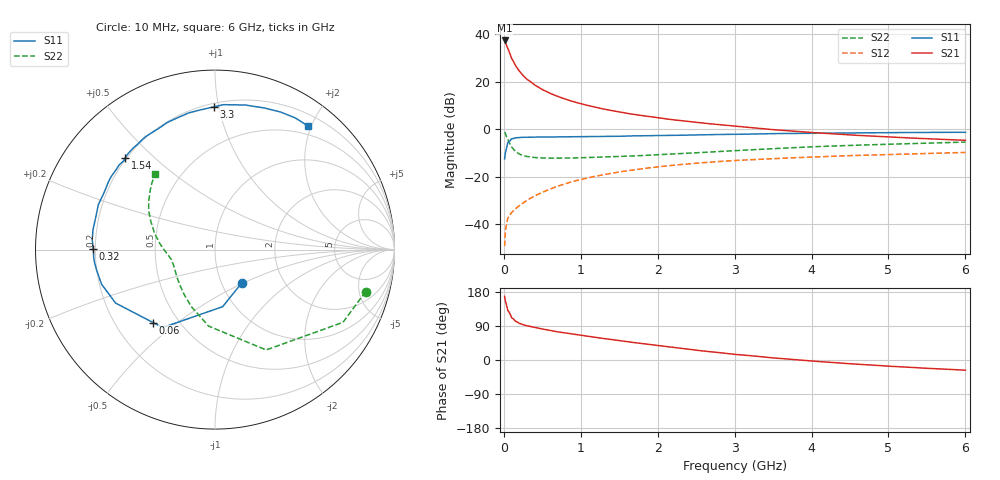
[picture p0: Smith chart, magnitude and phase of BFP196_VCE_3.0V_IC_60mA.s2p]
! Infineon Technologies  Discrete & RF Semiconductors
! BFP196
! VCE = 3.0 V,  IC =  60mA
! Common Emitter S-Parameters:  Jan 2016
# GHz  S  MA  R  50
!  f  S11  S21  S12  S22
! GHz  MAG  ANG  MAG  ANG  MAG  ANG  MAG  ANG
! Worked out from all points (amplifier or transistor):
!   210 points, 10 MHz to 6 GHz, reference 50 ohm
!   highest |S21| = 37.3 dB at 10 MHz (marker M1)
!   |S21| within 3 dB of that: start of sweep to 47.1 MHz
!   unconditionally stable (mu >= 1): 419.3 MHz to 4.654 GHz
!   at 185 MHz: K = 0.77, MSG = 28.9 dB, |S12| = -32.5 dB
!   at 1.52 GHz: K = 1.09, MAG = 10.7 dB, |S12| = -17.8 dB
!   at 6 GHz: K = 0.98, MSG = 2.6 dB, |S12| = -9.7 dB
!   S11 on the Smith chart (normalised r, x): 10 MHz: 1.24, -0.49; 60 MHz: 0.36, -0.41; 320 MHz: 0.19, +0.00; 1.54 GHz: 0.20, +0.41; 3.3 GHz: 0.22, +0.97; 6 GHz: 0.37, +1.95
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0.01  0.2386 -51.5  73.17 167.7  0.0035 78.8  0.8715 -15.6
0.02  0.3209 -82.4  67.9 155.5  0.0071 73.5  0.82 -29.6
0.05  0.5231 -123.9  50.6 131.3  0.0134 54.8  0.6275 -63.0
0.06  0.533 -130.2  46.39 128.7  0.0143 53.6  0.5764 -67.5
0.1  0.6288 -151.7  31.11 111.9  0.0177 50.1  0.4276 -94.8
0.15  0.6606 -163.0  21.84 102.6  0.0213 50.2  0.3428 -112.9
0.2  0.6698 -170.3  16.71 96.9  0.0247 54.6  0.302 -125.0
0.24  0.6757 -174.2  14.04 94.0  0.0274 56.4  0.2835 -132.2
0.3  0.6772 -178.9  11.24 90.2  0.0321 59.2  0.268 -140.1
0.32  0.6785 179.9  10.69 89.5  0.0336 59.9  0.2648 -141.9
0.4  0.6863 175.3  8.51 85.7  0.0397 62.2  0.2546 -149.4
0.5  0.6889 170.6  6.805 81.8  0.0472 63.7  0.249 -155.1
0.6  0.6874 166.4  5.68 78.0  0.0552 63.9  0.247 -159.0
0.8  0.6966 158.9  4.273 71.3  0.0716 63.3  0.2484 -164.5
1.02  0.6972 150.8  3.37 64.6  0.0895 61.8  0.252 -168.6
1.54  0.7137 134.5  2.252 50.2  0.1296 55.2  0.2694 -175.5
2.02  0.7389 120.9  1.721 37.8  0.1634 48.1  0.2924 177.9
3.1  0.7854 94.4  1.121 13.3  0.2245 32.0  0.361 162.0
3.3  0.7953 90.5  1.048 9.6  0.2329 29.1  0.3756 159.0
4.1  0.8245 76.6  0.834 -4.2  0.264 19.2  0.4337 148.4
5.1  0.8504 63.3  0.677 -17.3  0.2977 8.0  0.4896 137.5
6  0.8617 53.0  0.586 -26.9  0.3255 -2.0  0.5375 128.2
